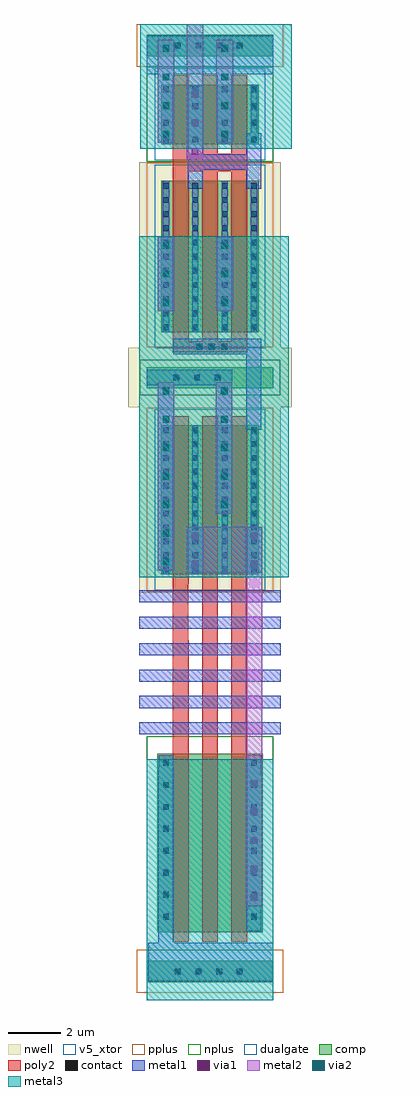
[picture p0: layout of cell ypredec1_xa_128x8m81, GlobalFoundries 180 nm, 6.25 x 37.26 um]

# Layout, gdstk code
import gdstk
lib = gdstk.Library(unit=1e-6, precision=1e-09)
def R(c, l, rs):  # rectangles x0, y0, x1, y1
    for r in rs: c.add(gdstk.rectangle(r[:2], r[2:], *l))
def A(c, l, x, y, w, h, nx, ny, dx, dy):  # array of equal rectangles
    R(c, l, [(x+i*dx, y+j*dy, x+i*dx+w, y+j*dy+h) for i in range(nx) for j in range(ny)])
def P(c, l, *ps):  # polygons
    for p in ps: c.add(gdstk.Polygon(p, *l))
nwell = (21, 0)
comp = (22, 0)
poly2 = (30, 0)
pplus = (31, 0)
nplus = (32, 0)
contact = (33, 0)
metal1 = (34, 0)
via1 = (35, 0)
metal2 = (36, 0)
via2 = (38, 0)
metal3 = (42, 0)
dualgate = (55, 0)
v5_xtor = (112, 1)

m1_poly24310590548731_12 = lib.new_cell('M1_POLY24310590548731_128x8m81')
R(m1_poly24310590548731_12, poly2, [(-0.68,-0.21,0.68,0.21)])
A(m1_poly24310590548731_12, contact, -0.58, -0.11, 0.22, 0.22, 3, 1, 0.47, 0)
R(m1_poly24310590548731_12, metal1, [(-0.64,-0.17,0.64,0.17)])

m3_m2__47333420_128x8m81 = lib.new_cell('M3_M2$$47333420_128x8m81')
R(m3_m2__47333420_128x8m81, metal2, [(-0.32,-1.965,0.32,1.96)])
A(m3_m2__47333420_128x8m81, via2, -0.13, -1.765, 0.26, 0.26, 1, 4, 0, 1.09)
R(m3_m2__47333420_128x8m81, metal3, [(-0.325,-1.965,0.325,1.965)])

m2_m1__43379756_128x8m81 = lib.new_cell('M2_M1$$43379756_128x8m81')
R(m2_m1__43379756_128x8m81, metal1, [(-0.32,-1.965,0.32,1.965)])
A(m2_m1__43379756_128x8m81, via1, -0.13, -1.765, 0.26, 0.26, 1, 4, 0, 1.09)
R(m2_m1__43379756_128x8m81, metal2, [(-0.32,-1.965,0.32,1.96)])

m3_m2__47819820_128x8m81 = lib.new_cell('M3_M2$$47819820_128x8m81')
R(m3_m2__47819820_128x8m81, metal2, [(-0.32,-2.51,0.315,2.51)])
A(m3_m2__47819820_128x8m81, via2, -0.13, -1.22, 0.26, 0.26, 1, 3, 0, 1.09)
R(m3_m2__47819820_128x8m81, via2, [(-0.13,-2.305,0.13,-2.045), (-0.13,2.045,0.13,2.305)])
R(m3_m2__47819820_128x8m81, metal3, [(-0.325,-2.51,0.325,2.51)])

m2_m1__43378732_128x8m81 = lib.new_cell('M2_M1$$43378732_128x8m81')
R(m2_m1__43378732_128x8m81, metal1, [(-0.32,-2.51,0.315,2.51)])
A(m2_m1__43378732_128x8m81, via1, -0.13, -1.22, 0.26, 0.26, 1, 3, 0, 1.09)
R(m2_m1__43378732_128x8m81, via1, [(-0.13,-2.305,0.13,-2.045), (-0.13,2.045,0.13,2.305)])
R(m2_m1__43378732_128x8m81, metal2, [(-0.32,-2.51,0.315,2.51)])

m3_m2__47332396_128x8m81 = lib.new_cell('M3_M2$$47332396_128x8m81')
R(m3_m2__47332396_128x8m81, metal2, [(-0.32,-3.595,0.32,3.59)])
A(m3_m2__47332396_128x8m81, via2, -0.13, -1.22, 0.26, 0.26, 1, 3, 0, 1.09)
R(m3_m2__47332396_128x8m81, via2, [(-0.13,-3.395,0.13,-3.135), (-0.13,-2.305,0.13,-2.045), (-0.13,2.045,0.13,2.305), (-0.13,3.135,0.13,3.395)])
R(m3_m2__47332396_128x8m81, metal3, [(-0.325,-3.6,0.325,3.6)])

m2_m1__47515692_128x8m81 = lib.new_cell('M2_M1$$47515692_128x8m81')
P(m2_m1__47515692_128x8m81, metal1, [(-0.255,-3.6),(-0.255,-3.595),(-0.32,-3.595),(-0.32,3.595),(-0.285,3.595),(-0.285,3.6),(0.285,3.6),(0.285,3.595),(0.305,3.595),(0.305,3.59),(0.32,3.59),(0.32,-3.6)])
A(m2_m1__47515692_128x8m81, via1, -0.13, -1.22, 0.26, 0.26, 1, 3, 0, 1.09)
R(m2_m1__47515692_128x8m81, via1, [(-0.13,-3.395,0.13,-3.135), (-0.13,-2.305,0.13,-2.045), (-0.13,2.045,0.13,2.305), (-0.13,3.135,0.13,3.395)])
R(m2_m1__47515692_128x8m81, metal2, [(-0.32,-3.595,0.32,3.59)])

pmos_5p04310590548764_12 = lib.new_cell('pmos_5p04310590548764_128x8m81')
R(pmos_5p04310590548764_12, nwell, [(-1.04,-0.6,1.64,6.27)])
R(pmos_5p04310590548764_12, comp, [(-0.44,0,1.04,5.67), (-0.44,0,-0.08,5.67), (0.68,0,1.04,5.67)])
R(pmos_5p04310590548764_12, poly2, [(0,-0.22,0.6,5.89), (0,5.67,0.6,5.89)])
R(pmos_5p04310590548764_12, pplus, [(-0.6,-0.23,1.2,5.9)])
A(pmos_5p04310590548764_12, contact, -0.37, 0.07, 0.22, 0.22, 1, 3, 0, 0.535)
A(pmos_5p04310590548764_12, contact, 0.75, 0.07, 0.22, 0.22, 1, 3, 0, 0.535)
A(pmos_5p04310590548764_12, contact, -0.37, 1.67, 0.22, 0.22, 1, 8, 0, 0.53)
A(pmos_5p04310590548764_12, contact, 0.75, 1.67, 0.22, 0.22, 1, 8, 0, 0.53)
R(pmos_5p04310590548764_12, metal1, [(-0.375,0,-0.145,5.67), (-0.375,0,-0.145,5.67), (0.745,0,0.975,5.67), (0.745,0,0.975,5.67)])
R(pmos_5p04310590548764_12, dualgate, [(-0.68,-0.62,1.28,6.29)])
R(pmos_5p04310590548764_12, v5_xtor, [(-0.68,-0.62,1.28,6.29)])
pmos_5p04310590548764_12.add(gdstk.Label('S', (-0.26,2.835), layer=34, texttype=0))
pmos_5p04310590548764_12.add(gdstk.Label('D', (0.86,2.835), layer=34, texttype=0))

pmos_1p2__47821868_128x8 = lib.new_cell('pmos_1p2$$47821868_128x8m81')
R(pmos_1p2__47821868_128x8, nwell, [(-1.43,-0.71,1.72,6.375)])
R(pmos_1p2__47821868_128x8, poly2, [(-0.155,-0.37,0.445,-0.005), (-0.155,5.67,0.445,6.03)])
R(pmos_1p2__47821868_128x8, pplus, [(-1.145,-0.685,1.43,6.35)])
pmos_1p2__47821868_128x8.add(gdstk.Reference(pmos_5p04310590548764_12, (-0.155,0)))

pmos_5p04310590548765_12 = lib.new_cell('pmos_5p04310590548765_128x8m81')
R(pmos_5p04310590548765_12, nwell, [(-1.04,-0.6,1.64,6.37)])
R(pmos_5p04310590548765_12, comp, [(-0.44,0,1.04,5.77), (-0.44,0,-0.08,5.77), (0.68,0,1.04,5.77)])
R(pmos_5p04310590548765_12, poly2, [(0,-0.22,0.6,5.99), (0,5.77,0.6,5.99)])
R(pmos_5p04310590548765_12, pplus, [(-0.6,-0.23,1.2,6)])
A(pmos_5p04310590548765_12, contact, -0.37, 0.07, 0.22, 0.22, 1, 3, 0, 0.545)
A(pmos_5p04310590548765_12, contact, 0.75, 0.07, 0.22, 0.22, 1, 3, 0, 0.545)
A(pmos_5p04310590548765_12, contact, -0.37, 1.7, 0.22, 0.22, 1, 8, 0, 0.54)
A(pmos_5p04310590548765_12, contact, 0.75, 1.7, 0.22, 0.22, 1, 8, 0, 0.54)
R(pmos_5p04310590548765_12, metal1, [(-0.375,0,-0.145,5.77), (-0.375,0,-0.145,5.77), (0.745,0,0.975,5.77), (0.745,0,0.975,5.77)])
R(pmos_5p04310590548765_12, dualgate, [(-0.68,-0.62,1.28,6.39)])
R(pmos_5p04310590548765_12, v5_xtor, [(-0.68,-0.62,1.28,6.39)])
pmos_5p04310590548765_12.add(gdstk.Label('S', (-0.26,2.885), layer=34, texttype=0))
pmos_5p04310590548765_12.add(gdstk.Label('D', (0.86,2.885), layer=34, texttype=0))

pmos_1p2__47820844_128x8 = lib.new_cell('pmos_1p2$$47820844_128x8m81')
R(pmos_1p2__47820844_128x8, nwell, [(-1.43,-0.705,1.72,6.375)])
R(pmos_1p2__47820844_128x8, poly2, [(-0.15,-0.37,0.44,-0.005), (-0.155,5.675,0.445,5.98)])
R(pmos_1p2__47820844_128x8, pplus, [(-1.145,-0.685,1.43,6.355)])
pmos_1p2__47820844_128x8.add(gdstk.Reference(pmos_5p04310590548765_12, (-0.155,0)))

m3_m2__47108140_128x8m81 = lib.new_cell('M3_M2$$47108140_128x8m81')
R(m3_m2__47108140_128x8m81, metal2, [(-0.32,-1.42,0.32,1.415)])
A(m3_m2__47108140_128x8m81, via2, -0.13, -1.22, 0.26, 0.26, 1, 3, 0, 1.09)
R(m3_m2__47108140_128x8m81, metal3, [(-0.325,-1.42,0.325,1.42)])

m2_m1__43380780_128x8m81 = lib.new_cell('M2_M1$$43380780_128x8m81')
R(m2_m1__43380780_128x8m81, metal1, [(-0.32,-1.42,0.32,1.415)])
A(m2_m1__43380780_128x8m81, via1, -0.13, -1.22, 0.26, 0.26, 1, 3, 0, 1.09)
R(m2_m1__43380780_128x8m81, metal2, [(-0.32,-1.42,0.32,1.415)])

nmos_5p04310590548710_12 = lib.new_cell('nmos_5p04310590548710_128x8m81')
R(nmos_5p04310590548710_12, comp, [(-0.44,0,1.04,2.27), (-0.44,0,-0.08,2.27), (0.68,0,1.04,2.27)])
R(nmos_5p04310590548710_12, poly2, [(0,-0.22,0.6,2.49), (0,2.27,0.6,2.49)])
R(nmos_5p04310590548710_12, nplus, [(-0.6,-0.23,1.2,2.5)])
A(nmos_5p04310590548710_12, contact, -0.37, 0.71, 0.22, 0.22, 1, 3, 0, 0.635)
A(nmos_5p04310590548710_12, contact, 0.75, 0.71, 0.22, 0.22, 1, 3, 0, 0.635)
R(nmos_5p04310590548710_12, contact, [(-0.37,0.07,-0.15,0.29), (0.75,0.07,0.97,0.29)])
R(nmos_5p04310590548710_12, metal1, [(-0.375,0,-0.145,2.27), (-0.375,0,-0.145,2.27), (0.745,0,0.975,2.27), (0.745,0,0.975,2.27)])
R(nmos_5p04310590548710_12, dualgate, [(-0.68,-0.62,1.28,2.89)])
R(nmos_5p04310590548710_12, v5_xtor, [(-0.68,-0.62,1.28,2.89)])
nmos_5p04310590548710_12.add(gdstk.Label('S', (-0.26,1.135), layer=34, texttype=0))
nmos_5p04310590548710_12.add(gdstk.Label('D', (0.86,1.135), layer=34, texttype=0))

nmos_1p2__46551084_128x8 = lib.new_cell('nmos_1p2$$46551084_128x8m81')
R(nmos_1p2__46551084_128x8, poly2, [(-0.155,-0.365,0.44,-0.005), (-0.15,-0.365,0.445,-0.005), (-0.155,2.27,0.44,2.635), (-0.15,2.27,0.445,2.635)])
R(nmos_1p2__46551084_128x8, nplus, [(-1.145,-0.685,1.43,2.95)])
nmos_1p2__46551084_128x8.add(gdstk.Reference(nmos_5p04310590548710_12, (-0.155,0)))

m2_m1__43375660_128x8m81 = lib.new_cell('M2_M1$$43375660_128x8m81')
R(m2_m1__43375660_128x8m81, metal1, [(-0.31,-0.875,0.31,0.875)])
R(m2_m1__43375660_128x8m81, via1, [(-0.13,-0.675,0.13,-0.415), (-0.13,0.415,0.13,0.675)])
R(m2_m1__43375660_128x8m81, metal2, [(-0.31,-0.875,0.31,0.875)])

ypredec1_xa_128x8m81 = lib.new_cell('ypredec1_xa_128x8m81')
R(ypredec1_xa_128x8m81, nwell, [(-0.72,-12.995,5.53,-10.72)])
R(ypredec1_xa_128x8m81, comp, [(-0.005,-34.94,4.815,-34.115), (0.39,-33.035,4.415,-26.225), (-0.005,-12.26,4.815,-11.46), (-0.005,0.405,4.815,1.225)])
R(ypredec1_xa_128x8m81, poly2, [(2.105,-21.17,2.705,-19.555)])
P(ypredec1_xa_128x8m81, poly2, [(0.985,-10.89),(0.985,-10.24),(1.585,-10.24),(1.585,-10.47),(2.105,-10.47),(2.105,-10.19),(2.705,-10.19),(2.705,-10.47),(3.225,-10.47),(3.225,-10.24),(3.825,-10.24),(3.825,-10.89)],
  [(3.22,-33.4),(3.22,-22.895),(3.225,-22.895),(3.225,-19.555),(3.825,-19.555),(3.825,-20.385),(3.82,-20.385),(3.82,-33.4)],
  [(2.11,-33.4),(2.11,-21.555),(2.105,-21.555),(2.105,-21.12),(2.71,-21.12),(2.71,-33.4)],
  [(0.99,-33.4),(0.99,-25.6),(0.985,-25.6),(0.985,-24.91),(0.99,-24.91),(0.99,-19.555),(1.58,-19.555),(1.58,-21.885),(1.585,-21.885),(1.585,-22.575),(1.59,-22.575),(1.59,-33.4)],
  [(0.985,-4.29),(0.985,-3.1),(1.585,-3.1),(1.585,-3.31),(2.105,-3.31),(2.105,-3.1),(2.705,-3.1),(2.705,-3.31),(3.225,-3.31),(3.225,-3.1),(3.825,-3.1),(3.825,-4.29),(3.225,-4.29),(3.225,-3.995),(2.705,-3.995),(2.705,-4.29),(2.105,-4.29),(2.105,-3.995),(1.585,-3.995),(1.585,-4.29)])
R(ypredec1_xa_128x8m81, pplus, [(-0.4,-35.35,5.21,-33.71), (-0.4,-0.005,5.21,1.635)])
R(ypredec1_xa_128x8m81, nplus, [(-0.005,-33.715,4.815,-25.545), (-0.27,-12.53,5.08,-11.185)])
A(ypredec1_xa_128x8m81, contact, 1.065, -34.64, 0.22, 0.22, 4, 2, 0.79, 35.345)
A(ypredec1_xa_128x8m81, contact, 0.615, -31.715, 0.22, 0.22, 1, 4, 0, 0.84)
A(ypredec1_xa_128x8m81, contact, 3.975, -31.715, 0.22, 0.22, 1, 4, 0, 0.84)
A(ypredec1_xa_128x8m81, contact, 0.615, -28.36, 0.22, 0.22, 1, 3, 0, 0.84)
A(ypredec1_xa_128x8m81, contact, 3.975, -28.36, 0.22, 0.22, 1, 3, 0, 0.84)
A(ypredec1_xa_128x8m81, contact, 1.01, -11.97, 0.22, 0.22, 3, 1, 0.79, 0)
R(ypredec1_xa_128x8m81, contact, [(0.615,-32.55,0.835,-32.33), (3.975,-32.55,4.195,-32.33)])
A(ypredec1_xa_128x8m81, metal1, -0.29, -23.47, 5.39, 0.46, 1, 4, 0, 1.01)
R(ypredec1_xa_128x8m81, metal1, [(-0.29,-25.485,5.1,-25.025), (-0.29,-24.475,5.1,-24.015)])
P(ypredec1_xa_128x8m81, metal1, [(1.56,-4.65),(1.56,-3.565),(1.555,-3.565),(1.555,-2.535),(2.135,-2.535),(2.135,-3.325),(2.155,-3.325),(2.155,-3.33),(3.795,-3.33),(3.795,-2.535),(4.37,-2.535),(4.37,-4.65),(3.795,-4.65),(3.795,-3.925),(2.135,-3.925),(2.135,-3.93),(2.13,-3.93),(2.13,-4.65)],
  [(3.795,-13.855),(3.795,-10.975),(1,-10.975),(1,-10.38),(4.37,-10.38),(4.37,-13.855)],
  [(2.675,-13.675),(2.675,-12.155),(1.015,-12.155),(1.015,-13.665),(0.435,-13.665),(0.435,-12.155),(-0.005,-12.155),(-0.005,-11.56),(3.25,-11.56),(3.25,-12.035),(3.255,-12.035),(3.255,-13.675)],
  [(3.795,-32.99),(3.795,-26.27),(4.37,-26.27),(4.37,-27.02),(4.375,-27.02),(4.375,-32.04),(4.37,-32.04),(4.37,-32.99)],
  [(0.04,-34.895),(0.04,-33.435),(0.435,-33.435),(0.435,-26.75),(0.44,-26.75),(0.44,-26.27),(1.01,-26.27),(1.01,-26.75),(1.015,-26.75),(1.015,-33.435),(4.815,-33.435),(4.815,-34.895)],
  [(0.435,-1.25),(0.435,-0.275),(-0.005,-0.275),(-0.005,1.185),(4.815,1.185),(4.815,-0.275),(3.255,-0.275),(3.255,-1.25),(2.675,-1.25),(2.675,-0.275),(1.015,-0.275),(1.015,-1.25)])
R(ypredec1_xa_128x8m81, metal2, [(1.515,-1.84,2.155,1.635)])
P(ypredec1_xa_128x8m81, metal2, [(3.765,-27.73),(3.765,-19.325),(3.76,-19.325),(3.76,-19.32),(1.525,-19.32),(1.525,-17.565),(4.405,-17.565),(4.405,-27.73)])
R(ypredec1_xa_128x8m81, metal3, [(-0.005,-35.62,4.815,-26.43), (-0.29,-19.48,5.41,-6.47), (-0.26,-3.12,5.53,1.635)])
ypredec1_xa_128x8m81.add(gdstk.Reference(m1_poly24310590548731_12, (2.475,-10.68)))
ypredec1_xa_128x8m81.add(gdstk.Reference(m3_m2__47333420_128x8m81, (2.965,-0.93)))
ypredec1_xa_128x8m81.add(gdstk.Reference(m3_m2__47333420_128x8m81, (0.725,-0.93)))
ypredec1_xa_128x8m81.add(gdstk.Reference(m2_m1__43379756_128x8m81, (0.725,-0.93)))
ypredec1_xa_128x8m81.add(gdstk.Reference(m2_m1__43379756_128x8m81, (2.965,-0.93)))
ypredec1_xa_128x8m81.add(gdstk.Reference(m3_m2__47819820_128x8m81, (2.945,-14.545)))
ypredec1_xa_128x8m81.add(gdstk.Reference(m2_m1__43378732_128x8m81, (4.085,-29.53)))
ypredec1_xa_128x8m81.add(gdstk.Reference(m2_m1__43378732_128x8m81, (2.945,-14.545)))
ypredec1_xa_128x8m81.add(gdstk.Reference(m3_m2__47332396_128x8m81, (0.725,-15.63)))
ypredec1_xa_128x8m81.add(gdstk.Reference(m2_m1__47515692_128x8m81, (0.725,-15.63)))
ypredec1_xa_128x8m81.add(gdstk.Reference(pmos_1p2__47821868_128x8, (3.38,-19.36)))
ypredec1_xa_128x8m81.add(gdstk.Reference(pmos_1p2__47821868_128x8, (2.26,-19.36)))
ypredec1_xa_128x8m81.add(gdstk.Reference(pmos_1p2__47821868_128x8, (1.14,-19.36)))
ypredec1_xa_128x8m81.add(gdstk.Reference(pmos_1p2__47820844_128x8, (2.26,-4.355), x_reflection=True))
ypredec1_xa_128x8m81.add(gdstk.Reference(pmos_1p2__47820844_128x8, (3.38,-4.355), x_reflection=True))
ypredec1_xa_128x8m81.add(gdstk.Reference(pmos_1p2__47820844_128x8, (1.14,-4.355), x_reflection=True))
ypredec1_xa_128x8m81.add(gdstk.Reference(m3_m2__47108140_128x8m81, (0.725,-7.91)))
ypredec1_xa_128x8m81.add(gdstk.Reference(m3_m2__47108140_128x8m81, (2.965,-7.91)))
ypredec1_xa_128x8m81.add(gdstk.Reference(m2_m1__43380780_128x8m81, (0.725,-7.91)))
ypredec1_xa_128x8m81.add(gdstk.Reference(m2_m1__43380780_128x8m81, (2.965,-7.91)))
ypredec1_xa_128x8m81.add(gdstk.Reference(m2_m1__43380780_128x8m81, (1.835,-2.14)))
ypredec1_xa_128x8m81.add(gdstk.Reference(nmos_1p2__46551084_128x8, (1.14,-0.68), x_reflection=True))
ypredec1_xa_128x8m81.add(gdstk.Reference(nmos_1p2__46551084_128x8, (2.26,-0.68), x_reflection=True))
ypredec1_xa_128x8m81.add(gdstk.Reference(nmos_1p2__46551084_128x8, (3.38,-0.68), x_reflection=True))
ypredec1_xa_128x8m81.add(gdstk.Reference(m2_m1__43375660_128x8m81, (4.085,-18.44)))
ypredec1_xa_128x8m81.add(gdstk.Reference(m2_m1__43375660_128x8m81, (1.845,-18.44)))

lib.write_gds('ypredec1_xa_128x8m81.gds')
